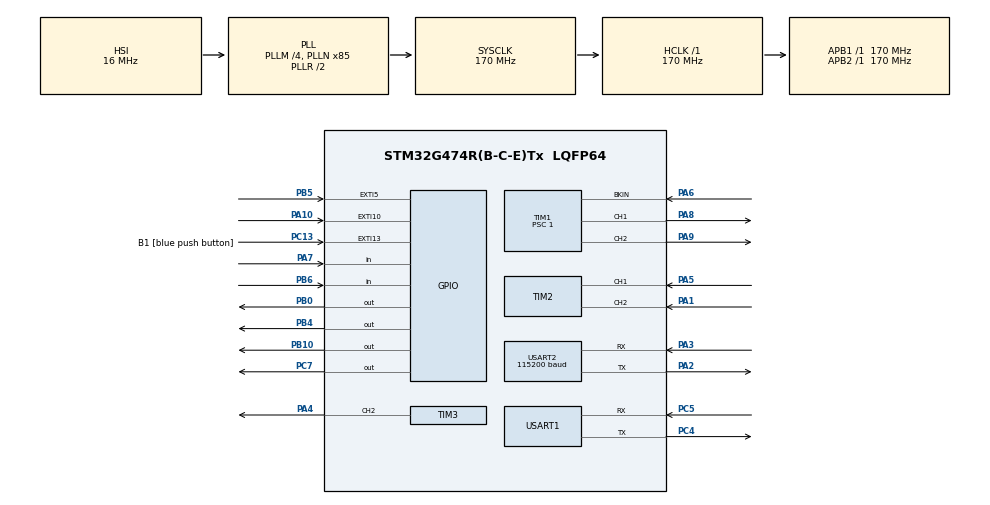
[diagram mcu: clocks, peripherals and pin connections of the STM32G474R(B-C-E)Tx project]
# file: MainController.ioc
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Dma.Request0=USART2_RX
Dma.Request1=USART1_RX
Dma.Request2=TIM3_CH2
Dma.TIM3_CH2.2.Direction=DMA_MEMORY_TO_PERIPH
Dma.TIM3_CH2.2.EventEnable=DISABLE
Dma.TIM3_CH2.2.Instance=DMA1_Channel3
Dma.TIM3_CH2.2.MemDataAlignment=DMA_MDATAALIGN_HALFWORD
Dma.TIM3_CH2.2.MemInc=DMA_MINC_ENABLE
Dma.TIM3_CH2.2.Mode=DMA_NORMAL
Dma.TIM3_CH2.2.PeriphDataAlignment=DMA_PDATAALIGN_HALFWORD
Dma.TIM3_CH2.2.PeriphInc=DMA_PINC_DISABLE
Dma.TIM3_CH2.2.Polarity=HAL_DMAMUX_REQ_GEN_RISING
Dma.TIM3_CH2.2.Priority=DMA_PRIORITY_LOW
Dma.TIM3_CH2.2.RequestNumber=1
Dma.TIM3_CH2.2.SignalID=NONE
Dma.TIM3_CH2.2.SyncEnable=DISABLE
Dma.TIM3_CH2.2.SyncPolarity=HAL_DMAMUX_SYNC_NO_EVENT
Dma.TIM3_CH2.2.SyncRequestNumber=1
Dma.TIM3_CH2.2.SyncSignalID=NONE
Dma.USART1_RX.1.Direction=DMA_PERIPH_TO_MEMORY
Dma.USART1_RX.1.EventEnable=DISABLE
Dma.USART1_RX.1.Instance=DMA1_Channel2
Dma.USART1_RX.1.MemDataAlignment=DMA_MDATAALIGN_BYTE
Dma.USART1_RX.1.MemInc=DMA_MINC_ENABLE
Dma.USART1_RX.1.Mode=DMA_CIRCULAR
Dma.USART1_RX.1.PeriphDataAlignment=DMA_PDATAALIGN_BYTE
Dma.USART1_RX.1.PeriphInc=DMA_PINC_DISABLE
Dma.USART1_RX.1.Polarity=HAL_DMAMUX_REQ_GEN_RISING
Dma.USART1_RX.1.Priority=DMA_PRIORITY_HIGH
Dma.USART1_RX.1.RequestNumber=1
Dma.USART1_RX.1.SignalID=NONE
Dma.USART1_RX.1.SyncEnable=DISABLE
Dma.USART1_RX.1.SyncPolarity=HAL_DMAMUX_SYNC_NO_EVENT
Dma.USART1_RX.1.SyncRequestNumber=1
Dma.USART1_RX.1.SyncSignalID=NONE
Dma.USART2_RX.0.Direction=DMA_PERIPH_TO_MEMORY
Dma.USART2_RX.0.EventEnable=DISABLE
Dma.USART2_RX.0.Instance=DMA1_Channel1
Dma.USART2_RX.0.MemDataAlignment=DMA_MDATAALIGN_BYTE
Dma.USART2_RX.0.MemInc=DMA_MINC_ENABLE
Dma.USART2_RX.0.Mode=DMA_CIRCULAR
Dma.USART2_RX.0.PeriphDataAlignment=DMA_PDATAALIGN_BYTE
Dma.USART2_RX.0.PeriphInc=DMA_PINC_DISABLE
Dma.USART2_RX.0.Polarity=HAL_DMAMUX_REQ_GEN_RISING
Dma.USART2_RX.0.Priority=DMA_PRIORITY_VERY_HIGH
Dma.USART2_RX.0.RequestNumber=1
Dma.USART2_RX.0.SignalID=NONE
Dma.USART2_RX.0.SyncEnable=DISABLE
Dma.USART2_RX.0.SyncPolarity=HAL_DMAMUX_SYNC_NO_EVENT
Dma.USART2_RX.0.SyncRequestNumber=1
Dma.USART2_RX.0.SyncSignalID=NONE
Mcu.Family=STM32G4
Mcu.Name=STM32G474R(B-C-E)Tx
Mcu.Package=LQFP64
NVIC.DMA1_Channel1_IRQn=true\:0\:0\:false\:false\:true\:false\:true\:true
NVIC.DMA1_Channel2_IRQn=true\:0\:0\:false\:false\:true\:false\:true\:true
NVIC.DMA1_Channel3_IRQn=true\:0\:0\:false\:false\:true\:false\:true\:true
NVIC.EXTI15_10_IRQn=true\:0\:0\:false\:false\:true\:true\:true\:true
NVIC.EXTI9_5_IRQn=true\:0\:0\:false\:false\:true\:true\:true\:true
NVIC.PriorityGroup=NVIC_PRIORITYGROUP_4
PA1.Signal=S_TIM2_CH2
PA10.GPIO_ModeDefaultEXTI=GPIO_MODE_IT_FALLING
PA10.GPIO_PuPd=GPIO_NOPULL
PA10.Signal=GPXTI10
PA13.GPIO_Label=T_SWDIO
PA13.Mode=Serial_Wire
PA13.Signal=SYS_JTMS-SWDIO
PA14.GPIO_Label=T_SWCLK
PA14.Mode=Serial_Wire
PA14.Signal=SYS_JTCK-SWCLK
PA2.Mode=Asynchronous
PA2.Signal=USART2_TX
PA3.Mode=Asynchronous
PA3.Signal=USART2_RX
PA4.Signal=S_TIM3_CH2
PA5.Signal=S_TIM2_CH1
PA6.GPIO_PuPd=GPIO_PULLUP
PA6.Mode=Activate-Break-Input
PA6.Signal=TIM1_BKIN
PA7.GPIO_PuPd=GPIO_PULLUP
PA7.Signal=GPIO_Input
PA8.Signal=S_TIM1_CH1
PA9.Signal=S_TIM1_CH2
PB0.Signal=GPIO_Output
PB10.Signal=GPIO_Output
PB3.GPIO_Label=T_SWO
PB3.Signal=SYS_JTDO-SWO
PB4.Signal=GPIO_Output
PB5.GPIO_ModeDefaultEXTI=GPIO_MODE_IT_FALLING
PB5.Signal=GPXTI5
PB6.GPIO_PuPd=GPIO_PULLUP
PB6.Signal=GPIO_Input
PC13.GPIO_Label=B1 [blue push button]
PC13.Signal=GPXTI13
PC14-OSC32_IN.Mode=LSE-External-Oscillator
PC14-OSC32_IN.Signal=RCC_OSC32_IN
PC15-OSC32_OUT.Mode=LSE-External-Oscillator
PC15-OSC32_OUT.Signal=RCC_OSC32_OUT
PC4.Mode=Asynchronous
PC4.Signal=USART1_TX
PC5.Mode=Asynchronous
PC5.Signal=USART1_RX
PC7.Signal=GPIO_Output
PF0-OSC_IN.Mode=HSE-External-Oscillator
PF0-OSC_IN.Signal=RCC_OSC_IN
PF1-OSC_OUT.Mode=HSE-External-Oscillator
PF1-OSC_OUT.Signal=RCC_OSC_OUT
ProjectManager.HeapSize=0x200
ProjectManager.StackSize=0x400
ProjectManager.TargetToolchain=STM32CubeIDE
RCC.ADC12Freq_Value=170000000
RCC.ADC345Freq_Value=170000000
RCC.AHBFreq_Value=170000000
RCC.APB1Freq_Value=170000000
RCC.APB1TimFreq_Value=170000000
RCC.APB2Freq_Value=170000000
RCC.APB2TimFreq_Value=170000000
RCC.CortexFreq_Value=170000000
RCC.EXTERNAL_CLOCK_VALUE=12288000
RCC.HCLKFreq_Value=170000000
RCC.HSE_VALUE=24000000
RCC.HSI48_VALUE=48000000
RCC.HSI_VALUE=16000000
RCC.PLLM=RCC_PLLM_DIV4
RCC.PLLN=85
RCC.RTCClockSelection=RCC_RTCCLKSOURCE_LSE
RCC.SYSCLKFreq_VALUE=170000000
RCC.SYSCLKSource=RCC_SYSCLKSOURCE_PLLCLK
RCC.USBFreq_Value=170000000
RCC.VCOOutputFreq_Value=340000000
SH.S_TIM1_CH1.0=TIM1_CH1,PWM Generation1 CH1
SH.S_TIM1_CH2.0=TIM1_CH2,PWM Generation2 CH2
SH.S_TIM2_CH1.0=TIM2_CH1,Encoder_Interface
SH.S_TIM2_CH2.0=TIM2_CH2,Encoder_Interface
SH.S_TIM3_CH2.0=TIM3_CH2,PWM Generation2 CH2
TIM1.BreakPolarity=TIM_BREAKPOLARITY_LOW
TIM1.Channel-PWM\ Generation1\ CH1=TIM_CHANNEL_1
TIM1.Channel-PWM\ Generation2\ CH2=TIM_CHANNEL_2
TIM1.OCPolarity_1=TIM_OCPOLARITY_HIGH
TIM1.OCPolarity_2=TIM_OCPOLARITY_HIGH
TIM1.Prescaler=1
TIM1.SourceBRKDigInputPolarity=TIM_BREAKINPUTSOURCE_POLARITY_LOW
TIM2.EncoderMode=TIM_ENCODERMODE_TI12
TIM3.Channel-PWM\ Generation2\ CH2=TIM_CHANNEL_2
TIM3.PeriodNoDither=106
TIM3.Prescaler=1
USART1.VirtualMode-Asynchronous=VM_ASYNC
USART2.BaudRate=115200
USART2.VirtualMode-Asynchronous=VM_ASYNC
VP_SYS_VS_DBSignals.Mode=DisableDeadBatterySignals
VP_TIM1_VS_ClockSourceINT.Mode=Internal
VP_TIM3_VS_ClockSourceINT.Mode=Internal
board=NUCLEO-G474RE

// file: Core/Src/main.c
/* USER CODE BEGIN Header */
/**
  ******************************************************************************
  * @file           : main.c
  * @brief          : Main program body
  ******************************************************************************
  * @attention
  *
  * Copyright (c) 2024 STMicroelectronics.
  * All rights reserved.
  *
  * This software is licensed under terms that can be found in the LICENSE file
  * in the root directory of this software component.
  * If no LICENSE file comes with this software, it is provided AS-IS.
  *
  ******************************************************************************
  */
/* USER CODE END Header */
#include "main.h"

/* USER CODE BEGIN Includes */
#include "subroutine.h"
/* USER CODE END Includes */

TIM_HandleTypeDef htim1;
TIM_HandleTypeDef htim2;
TIM_HandleTypeDef htim3;
DMA_HandleTypeDef hdma_tim3_ch2;

UART_HandleTypeDef huart1;
UART_HandleTypeDef huart2;
DMA_HandleTypeDef hdma_usart1_rx;
DMA_HandleTypeDef hdma_usart2_rx;

/* USER CODE BEGIN PV */
// @User: Joystick receiving buffer
uint8_t joystickPayload [10] = {0};

// @User: Encoder's raw angle from QEI
uint32_t qeiRaw = 0;

// @User: Base system receiving buffer

// @User: Motor's parameter
volatile uint8_t zStop = 0;

/* USER CODE END PV */

void SystemClock_Config(void);
static void MX_GPIO_Init(void);
static void MX_DMA_Init(void);
static void MX_USART1_UART_Init(void);
static void MX_USART2_UART_Init(void);
static void MX_TIM1_Init(void);
static void MX_TIM2_Init(void);
static void MX_TIM3_Init(void);

int main(void)
{

  /* MCU Configuration--------------------------------------------------------*/

  /* Reset of all peripherals, Initializes the Flash interface and the Systick. */
  HAL_Init();

  /* Configure the system clock */
  SystemClock_Config();

  /* Initialize all configured peripherals */
  MX_GPIO_Init();
  MX_DMA_Init();
  MX_USART1_UART_Init();
  MX_USART2_UART_Init();
  MX_TIM1_Init();
  MX_TIM2_Init();
  MX_TIM3_Init();
  /* USER CODE BEGIN 2 */

  // @User: Setup UART 1 for communication with joy stick
  HAL_UART_Receive_DMA(&huart1, joystickPayload, 10);

  // @User: Setup UART 2 for communication with Base system

  // @User: Setup Timer 1 for Motor drive
  HAL_TIM_Base_Start(&htim1);
  HAL_TIM_PWM_Start(&htim1, TIM_CHANNEL_1);
  HAL_TIM_PWM_Start(&htim1, TIM_CHANNEL_2);

  // @User: Setup Timer 2 as encoder interface
  HAL_TIM_Encoder_Start(&htim2, TIM_CHANNEL_ALL);

  // @User: Setup Timer 3 for sending led data
  HAL_TIM_Base_Start(&htim3);

  // TODO: Test subroutine
//  uint16_t result = retractX();
//  uint16_t result = extendX();
  uint8_t result = HomeZ();

  /* USER CODE END 2 */

  /* Infinite loop */
  while (1)
  {

    /* USER CODE BEGIN 3 */

	  // TODO: Test encoder QEI, remove later
	  qeiRaw = __HAL_TIM_GET_COUNTER(&htim2);
  }
  /* USER CODE END 3 */
}

void SystemClock_Config(void)
{
  RCC_OscInitTypeDef RCC_OscInitStruct = {0};
  RCC_ClkInitTypeDef RCC_ClkInitStruct = {0};

  /** Configure the main internal regulator output voltage
  */
  HAL_PWREx_ControlVoltageScaling(PWR_REGULATOR_VOLTAGE_SCALE1_BOOST);

  /** Initializes the RCC Oscillators according to the specified parameters
  * in the RCC_OscInitTypeDef structure.
  */
  RCC_OscInitStruct.OscillatorType = RCC_OSCILLATORTYPE_HSI;
  RCC_OscInitStruct.HSIState = RCC_HSI_ON;
  RCC_OscInitStruct.HSICalibrationValue = RCC_HSICALIBRATION_DEFAULT;
  RCC_OscInitStruct.PLL.PLLState = RCC_PLL_ON;
  RCC_OscInitStruct.PLL.PLLSource = RCC_PLLSOURCE_HSI;
  RCC_OscInitStruct.PLL.PLLM = RCC_PLLM_DIV4;
  RCC_OscInitStruct.PLL.PLLN = 85;
  RCC_OscInitStruct.PLL.PLLP = RCC_PLLP_DIV2;
  RCC_OscInitStruct.PLL.PLLQ = RCC_PLLQ_DIV2;
  RCC_OscInitStruct.PLL.PLLR = RCC_PLLR_DIV2;
  if (HAL_RCC_OscConfig(&RCC_OscInitStruct) != HAL_OK)
  {
    Error_Handler();
  }

  /** Initializes the CPU, AHB and APB buses clocks
  */
  RCC_ClkInitStruct.ClockType = RCC_CLOCKTYPE_HCLK|RCC_CLOCKTYPE_SYSCLK
                              |RCC_CLOCKTYPE_PCLK1|RCC_CLOCKTYPE_PCLK2;
  RCC_ClkInitStruct.SYSCLKSource = RCC_SYSCLKSOURCE_PLLCLK;
  RCC_ClkInitStruct.AHBCLKDivider = RCC_SYSCLK_DIV1;
  RCC_ClkInitStruct.APB1CLKDivider = RCC_HCLK_DIV1;
  RCC_ClkInitStruct.APB2CLKDivider = RCC_HCLK_DIV1;

  if (HAL_RCC_ClockConfig(&RCC_ClkInitStruct, FLASH_LATENCY_4) != HAL_OK)
  {
    Error_Handler();
  }
}

static void MX_TIM1_Init(void)
{

  TIM_ClockConfigTypeDef sClockSourceConfig = {0};
  TIM_MasterConfigTypeDef sMasterConfig = {0};
  TIMEx_BreakInputConfigTypeDef sBreakInputConfig = {0};
  TIM_OC_InitTypeDef sConfigOC = {0};
  TIM_BreakDeadTimeConfigTypeDef sBreakDeadTimeConfig = {0};

  htim1.Instance = TIM1;
  htim1.Init.Prescaler = 1;
  htim1.Init.CounterMode = TIM_COUNTERMODE_UP;
  htim1.Init.Period = 65535;
  htim1.Init.ClockDivision = TIM_CLOCKDIVISION_DIV1;
  htim1.Init.RepetitionCounter = 0;
  htim1.Init.AutoReloadPreload = TIM_AUTORELOAD_PRELOAD_DISABLE;
  if (HAL_TIM_Base_Init(&htim1) != HAL_OK)
  {
    Error_Handler();
  }
  sClockSourceConfig.ClockSource = TIM_CLOCKSOURCE_INTERNAL;
  if (HAL_TIM_ConfigClockSource(&htim1, &sClockSourceConfig) != HAL_OK)
  {
    Error_Handler();
  }
  if (HAL_TIM_PWM_Init(&htim1) != HAL_OK)
  {
    Error_Handler();
  }
  sMasterConfig.MasterOutputTrigger = TIM_TRGO_RESET;
  sMasterConfig.MasterOutputTrigger2 = TIM_TRGO2_RESET;
  sMasterConfig.MasterSlaveMode = TIM_MASTERSLAVEMODE_DISABLE;
  if (HAL_TIMEx_MasterConfigSynchronization(&htim1, &sMasterConfig) != HAL_OK)
  {
    Error_Handler();
  }
  sBreakInputConfig.Source = TIM_BREAKINPUTSOURCE_BKIN;
  sBreakInputConfig.Enable = TIM_BREAKINPUTSOURCE_ENABLE;
  sBreakInputConfig.Polarity = TIM_BREAKINPUTSOURCE_POLARITY_LOW;
  if (HAL_TIMEx_ConfigBreakInput(&htim1, TIM_BREAKINPUT_BRK, &sBreakInputConfig) != HAL_OK)
  {
    Error_Handler();
  }
  sConfigOC.OCMode = TIM_OCMODE_PWM1;
  sConfigOC.Pulse = 0;
  sConfigOC.OCPolarity = TIM_OCPOLARITY_HIGH;
  sConfigOC.OCNPolarity = TIM_OCNPOLARITY_HIGH;
  sConfigOC.OCFastMode = TIM_OCFAST_DISABLE;
  sConfigOC.OCIdleState = TIM_OCIDLESTATE_RESET;
  sConfigOC.OCNIdleState = TIM_OCNIDLESTATE_RESET;
  if (HAL_TIM_PWM_ConfigChannel(&htim1, &sConfigOC, TIM_CHANNEL_1) != HAL_OK)
  {
    Error_Handler();
  }
  if (HAL_TIM_PWM_ConfigChannel(&htim1, &sConfigOC, TIM_CHANNEL_2) != HAL_OK)
  {
    Error_Handler();
  }
  sBreakDeadTimeConfig.OffStateRunMode = TIM_OSSR_DISABLE;
  sBreakDeadTimeConfig.OffStateIDLEMode = TIM_OSSI_DISABLE;
  sBreakDeadTimeConfig.LockLevel = TIM_LOCKLEVEL_OFF;
  sBreakDeadTimeConfig.DeadTime = 0;
  sBreakDeadTimeConfig.BreakState = TIM_BREAK_ENABLE;
  sBreakDeadTimeConfig.BreakPolarity = TIM_BREAKPOLARITY_LOW;
  sBreakDeadTimeConfig.BreakFilter = 0;
  sBreakDeadTimeConfig.BreakAFMode = TIM_BREAK_AFMODE_INPUT;
  sBreakDeadTimeConfig.Break2State = TIM_BREAK2_DISABLE;
  sBreakDeadTimeConfig.Break2Polarity = TIM_BREAK2POLARITY_HIGH;
  sBreakDeadTimeConfig.Break2Filter = 0;
  sBreakDeadTimeConfig.Break2AFMode = TIM_BREAK_AFMODE_INPUT;
  sBreakDeadTimeConfig.AutomaticOutput = TIM_AUTOMATICOUTPUT_DISABLE;
  if (HAL_TIMEx_ConfigBreakDeadTime(&htim1, &sBreakDeadTimeConfig) != HAL_OK)
  {
    Error_Handler();
  }
  HAL_TIM_MspPostInit(&htim1);

}

static void MX_TIM2_Init(void)
{

  TIM_Encoder_InitTypeDef sConfig = {0};
  TIM_MasterConfigTypeDef sMasterConfig = {0};

  htim2.Instance = TIM2;
  htim2.Init.Prescaler = 0;
  htim2.Init.CounterMode = TIM_COUNTERMODE_UP;
  htim2.Init.Period = 4.294967295E9;
  htim2.Init.ClockDivision = TIM_CLOCKDIVISION_DIV1;
  htim2.Init.AutoReloadPreload = TIM_AUTORELOAD_PRELOAD_DISABLE;
  sConfig.EncoderMode = TIM_ENCODERMODE_TI12;
  sConfig.IC1Polarity = TIM_ICPOLARITY_RISING;
  sConfig.IC1Selection = TIM_ICSELECTION_DIRECTTI;
  sConfig.IC1Prescaler = TIM_ICPSC_DIV1;
  sConfig.IC1Filter = 0;
  sConfig.IC2Polarity = TIM_ICPOLARITY_RISING;
  sConfig.IC2Selection = TIM_ICSELECTION_DIRECTTI;
  sConfig.IC2Prescaler = TIM_ICPSC_DIV1;
  sConfig.IC2Filter = 0;
  if (HAL_TIM_Encoder_Init(&htim2, &sConfig) != HAL_OK)
  {
    Error_Handler();
  }
  sMasterConfig.MasterOutputTrigger = TIM_TRGO_RESET;
  sMasterConfig.MasterSlaveMode = TIM_MASTERSLAVEMODE_DISABLE;
  if (HAL_TIMEx_MasterConfigSynchronization(&htim2, &sMasterConfig) != HAL_OK)
  {
    Error_Handler();
  }

}

static void MX_TIM3_Init(void)
{

  TIM_ClockConfigTypeDef sClockSourceConfig = {0};
  TIM_MasterConfigTypeDef sMasterConfig = {0};
  TIM_OC_InitTypeDef sConfigOC = {0};

  htim3.Instance = TIM3;
  htim3.Init.Prescaler = 1;
  htim3.Init.CounterMode = TIM_COUNTERMODE_UP;
  htim3.Init.Period = 106;
  htim3.Init.ClockDivision = TIM_CLOCKDIVISION_DIV1;
  htim3.Init.AutoReloadPreload = TIM_AUTORELOAD_PRELOAD_DISABLE;
  if (HAL_TIM_Base_Init(&htim3) != HAL_OK)
  {
    Error_Handler();
  }
  sClockSourceConfig.ClockSource = TIM_CLOCKSOURCE_INTERNAL;
  if (HAL_TIM_ConfigClockSource(&htim3, &sClockSourceConfig) != HAL_OK)
  {
    Error_Handler();
  }
  if (HAL_TIM_PWM_Init(&htim3) != HAL_OK)
  {
    Error_Handler();
  }
  sMasterConfig.MasterOutputTrigger = TIM_TRGO_RESET;
  sMasterConfig.MasterSlaveMode = TIM_MASTERSLAVEMODE_DISABLE;
  if (HAL_TIMEx_MasterConfigSynchronization(&htim3, &sMasterConfig) != HAL_OK)
  {
    Error_Handler();
  }
  sConfigOC.OCMode = TIM_OCMODE_PWM1;
  sConfigOC.Pulse = 0;
  sConfigOC.OCPolarity = TIM_OCPOLARITY_HIGH;
  sConfigOC.OCFastMode = TIM_OCFAST_DISABLE;
  if (HAL_TIM_PWM_ConfigChannel(&htim3, &sConfigOC, TIM_CHANNEL_2) != HAL_OK)
  {
    Error_Handler();
  }
  HAL_TIM_MspPostInit(&htim3);

}

static void MX_USART1_UART_Init(void)
{

  huart1.Instance = USART1;
  huart1.Init.BaudRate = 115200;
  huart1.Init.WordLength = UART_WORDLENGTH_8B;
  huart1.Init.StopBits = UART_STOPBITS_1;
  huart1.Init.Parity = UART_PARITY_NONE;
  huart1.Init.Mode = UART_MODE_TX_RX;
  huart1.Init.HwFlowCtl = UART_HWCONTROL_NONE;
  huart1.Init.OverSampling = UART_OVERSAMPLING_16;
  huart1.Init.OneBitSampling = UART_ONE_BIT_SAMPLE_DISABLE;
  huart1.Init.ClockPrescaler = UART_PRESCALER_DIV1;
  huart1.AdvancedInit.AdvFeatureInit = UART_ADVFEATURE_NO_INIT;
  if (HAL_UART_Init(&huart1) != HAL_OK)
  {
    Error_Handler();
  }
  if (HAL_UARTEx_SetTxFifoThreshold(&huart1, UART_TXFIFO_THRESHOLD_1_8) != HAL_OK)
  {
    Error_Handler();
  }
  if (HAL_UARTEx_SetRxFifoThreshold(&huart1, UART_RXFIFO_THRESHOLD_1_8) != HAL_OK)
  {
    Error_Handler();
  }
  if (HAL_UARTEx_DisableFifoMode(&huart1) != HAL_OK)
  {
    Error_Handler();
  }

}

static void MX_USART2_UART_Init(void)
{

  huart2.Instance = USART2;
  huart2.Init.BaudRate = 115200;
  huart2.Init.WordLength = UART_WORDLENGTH_8B;
  huart2.Init.StopBits = UART_STOPBITS_1;
  huart2.Init.Parity = UART_PARITY_NONE;
  huart2.Init.Mode = UART_MODE_TX_RX;
  huart2.Init.HwFlowCtl = UART_HWCONTROL_NONE;
  huart2.Init.OverSampling = UART_OVERSAMPLING_16;
  huart2.Init.OneBitSampling = UART_ONE_BIT_SAMPLE_DISABLE;
  huart2.Init.ClockPrescaler = UART_PRESCALER_DIV1;
  huart2.AdvancedInit.AdvFeatureInit = UART_ADVFEATURE_NO_INIT;
  if (HAL_UART_Init(&huart2) != HAL_OK)
  {
    Error_Handler();
  }
  if (HAL_UARTEx_SetTxFifoThreshold(&huart2, UART_TXFIFO_THRESHOLD_1_8) != HAL_OK)
  {
    Error_Handler();
  }
  if (HAL_UARTEx_SetRxFifoThreshold(&huart2, UART_RXFIFO_THRESHOLD_1_8) != HAL_OK)
  {
    Error_Handler();
  }
  if (HAL_UARTEx_DisableFifoMode(&huart2) != HAL_OK)
  {
    Error_Handler();
  }

}

static void MX_DMA_Init(void)
{

  /* DMA controller clock enable */
  __HAL_RCC_DMAMUX1_CLK_ENABLE();
  __HAL_RCC_DMA1_CLK_ENABLE();

  /* DMA interrupt init */
  /* DMA1_Channel1_IRQn interrupt configuration */
  HAL_NVIC_SetPriority(DMA1_Channel1_IRQn, 0, 0);
  HAL_NVIC_EnableIRQ(DMA1_Channel1_IRQn);
  /* DMA1_Channel2_IRQn interrupt configuration */
  HAL_NVIC_SetPriority(DMA1_Channel2_IRQn, 0, 0);
  HAL_NVIC_EnableIRQ(DMA1_Channel2_IRQn);
  /* DMA1_Channel3_IRQn interrupt configuration */
  HAL_NVIC_SetPriority(DMA1_Channel3_IRQn, 0, 0);
  HAL_NVIC_EnableIRQ(DMA1_Channel3_IRQn);

}

static void MX_GPIO_Init(void)
{
  GPIO_InitTypeDef GPIO_InitStruct = {0};

  /* GPIO Ports Clock Enable */
  __HAL_RCC_GPIOC_CLK_ENABLE();
  __HAL_RCC_GPIOF_CLK_ENABLE();
  __HAL_RCC_GPIOA_CLK_ENABLE();
  __HAL_RCC_GPIOB_CLK_ENABLE();

  /*Configure GPIO pin Output Level */
  HAL_GPIO_WritePin(GPIOB, GPIO_PIN_0|GPIO_PIN_10|GPIO_PIN_4, GPIO_PIN_RESET);

  /*Configure GPIO pin Output Level */
  HAL_GPIO_WritePin(GPIOC, GPIO_PIN_7, GPIO_PIN_RESET);

  /*Configure GPIO pin : B1_Pin */
  GPIO_InitStruct.Pin = B1_Pin;
  GPIO_InitStruct.Mode = GPIO_MODE_IT_RISING;
  GPIO_InitStruct.Pull = GPIO_NOPULL;
  HAL_GPIO_Init(B1_GPIO_Port, &GPIO_InitStruct);

  /*Configure GPIO pin : PA7 */
  GPIO_InitStruct.Pin = GPIO_PIN_7;
  GPIO_InitStruct.Mode = GPIO_MODE_INPUT;
  GPIO_InitStruct.Pull = GPIO_PULLUP;
  HAL_GPIO_Init(GPIOA, &GPIO_InitStruct);

  /*Configure GPIO pins : PB0 PB10 PB4 */
  GPIO_InitStruct.Pin = GPIO_PIN_0|GPIO_PIN_10|GPIO_PIN_4;
  GPIO_InitStruct.Mode = GPIO_MODE_OUTPUT_PP;
  GPIO_InitStruct.Pull = GPIO_NOPULL;
  GPIO_InitStruct.Speed = GPIO_SPEED_FREQ_LOW;
  HAL_GPIO_Init(GPIOB, &GPIO_InitStruct);

  /*Configure GPIO pin : PC7 */
  GPIO_InitStruct.Pin = GPIO_PIN_7;
  GPIO_InitStruct.Mode = GPIO_MODE_OUTPUT_PP;
  GPIO_InitStruct.Pull = GPIO_NOPULL;
  GPIO_InitStruct.Speed = GPIO_SPEED_FREQ_LOW;
  HAL_GPIO_Init(GPIOC, &GPIO_InitStruct);

  /*Configure GPIO pin : PA10 */
  GPIO_InitStruct.Pin = GPIO_PIN_10;
  GPIO_InitStruct.Mode = GPIO_MODE_IT_FALLING;
  GPIO_InitStruct.Pull = GPIO_NOPULL;
  HAL_GPIO_Init(GPIOA, &GPIO_InitStruct);

  /*Configure GPIO pin : PB5 */
  GPIO_InitStruct.Pin = GPIO_PIN_5;
  GPIO_InitStruct.Mode = GPIO_MODE_IT_FALLING;
  GPIO_InitStruct.Pull = GPIO_NOPULL;
  HAL_GPIO_Init(GPIOB, &GPIO_InitStruct);

  /*Configure GPIO pin : PB6 */
  GPIO_InitStruct.Pin = GPIO_PIN_6;
  GPIO_InitStruct.Mode = GPIO_MODE_INPUT;
  GPIO_InitStruct.Pull = GPIO_PULLUP;
  HAL_GPIO_Init(GPIOB, &GPIO_InitStruct);

  /* EXTI interrupt init*/
  HAL_NVIC_SetPriority(EXTI9_5_IRQn, 0, 0);
  HAL_NVIC_EnableIRQ(EXTI9_5_IRQn);

  HAL_NVIC_SetPriority(EXTI15_10_IRQn, 0, 0);
  HAL_NVIC_EnableIRQ(EXTI15_10_IRQn);

}

/* USER CODE BEGIN 4 */

/* 	@User : Move motor
 *
 * 	Function: serviceMotor
 * 	Description: Low level API to control motor
 *	Return type : void
 *
 *	Parameter:
 *		pwm: (unsigned 32-bit integer) Motor pwm value
 *		dir: (unsigned 8-bit integer) Motor direction
 *
 */

void serviceMotor(uint32_t pwm, uint8_t dir){

	zStop = 0;
	if(dir){
		__HAL_TIM_SET_COMPARE(&htim1, TIM_CHANNEL_1, pwm);
		__HAL_TIM_SET_COMPARE(&htim1, TIM_CHANNEL_2, 0);
	}
	else{
		__HAL_TIM_SET_COMPARE(&htim1, TIM_CHANNEL_1, 0);
		__HAL_TIM_SET_COMPARE(&htim1, TIM_CHANNEL_2, pwm);
	}
}

/* 	@User : Get encoder value
 *
 * 	Function: getEncoderValue
 * 	Description: Low level API to get qei's counter
 *	Return type : uint32_t
 *
 *	Parameter:
 *		void
 *
 */

uint32_t getEncoderValue(){
	return __HAL_TIM_GET_COUNTER(&htim2);
}

/* 	@User : Zero encoder value
 *
 * 	Function: zeroEncoderValue
 * 	Description: Low level API to reset encoder's qei counter to 10,000 (this is for overhead)
 *	Return type : void
 *
 *	Parameter:
 *		void
 *
 */

void zeroEncoderValue(){
	__HAL_TIM_SET_COUNTER(&htim2, 10000);
}

/* 	@User : Get zStop
 *
 * 	Function: getZStop
 * 	Description: Low level API to get ZStop flag
 *	Return type : uint8_t
 *
 *	Parameter:
 *		void
 *
 */

uint8_t getZStop(){
	return zStop;
}

// @User : Stop motor when hit the end stop
void HAL_GPIO_EXTI_Callback(uint16_t GPIO_Pin){
	if(GPIO_Pin == GPIO_PIN_5 || GPIO_Pin == GPIO_PIN_10){
		__HAL_TIM_SET_COMPARE(&htim1, TIM_CHANNEL_1, 0);
		__HAL_TIM_SET_COMPARE(&htim1, TIM_CHANNEL_2, 0);
		zStop = 1;
	}
}

// @User : Stop timer3 that send data to led
void HAL_TIM_PWM_PulseFinishedCallback(TIM_HandleTypeDef *htim)
{
	if(htim -> Instance == TIM3){
		HAL_TIM_PWM_Stop_DMA(&htim3, TIM_CHANNEL_2);
	}

}
/* USER CODE END 4 */

void Error_Handler(void)
{
  __disable_irq();
  while (1)
  {
  }
}
